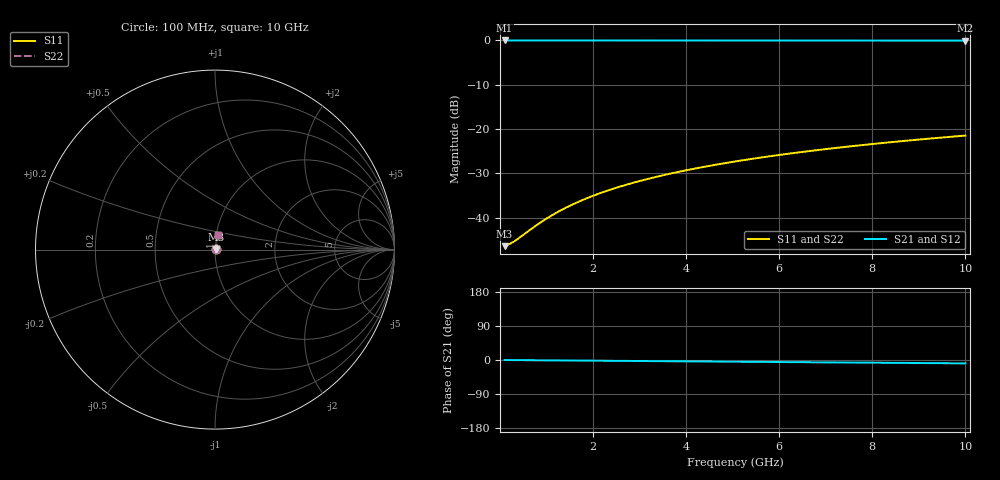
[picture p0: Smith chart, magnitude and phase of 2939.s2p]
# Hz S RI R 50.00
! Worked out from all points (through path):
!   100 points, 100 MHz to 10 GHz, reference 50 ohm
!   highest |S21| = -0.04 dB at 100 MHz (marker M1); lowest = -0.1 dB at 10 GHz (marker M2)
!   group delay of S21, straight-line fit = 2.47 ps
!   lowest |S11| = -46.5 dB at 100 MHz (marker M3), VSWR 1.01, Z = 50.5 + j0.0845 ohm
!   |S11| at or under -10 dB: start of sweep to end of sweep
!   |S22| runs from -46.5 to -21.5 dB; largest |S21 - S12| = 0
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1e8  0.00468 0.000838  0.9953 -0.00155  0.9953 -0.00155  0.00468 0.000838
2e8  0.00471 0.00168  0.9953 -0.00309  0.9953 -0.00309  0.00471 0.00168
3e8  0.00474 0.00251  0.9953 -0.00464  0.9953 -0.00464  0.00474 0.00251
4e8  0.00477 0.00335  0.9952 -0.00618  0.9952 -0.00618  0.00477 0.00335
8e8  0.00489 0.0067  0.9951 -0.0124  0.9951 -0.0124  0.00489 0.0067
1.1e9  0.00499 0.00921  0.995 -0.017  0.995 -0.017  0.00499 0.00921
1.4e9  0.00511 0.0117  0.9948 -0.0216  0.9948 -0.0216  0.00511 0.0117
1.6e9  0.0052 0.0134  0.9947 -0.0247  0.9947 -0.0247  0.0052 0.0134
1.8e9  0.0053 0.0151  0.9946 -0.0278  0.9946 -0.0278  0.0053 0.0151
2.1e9  0.00547 0.0176  0.9944 -0.0324  0.9944 -0.0324  0.00547 0.0176
2.5e9  0.00574 0.0209  0.9941 -0.0386  0.9941 -0.0386  0.00574 0.0209
2.9e9  0.00604 0.0242  0.9937 -0.0448  0.9937 -0.0448  0.00604 0.0242
3.4e9  0.00647 0.0284  0.9932 -0.0525  0.9932 -0.0525  0.00647 0.0284
3.8e9  0.00686 0.0317  0.9928 -0.0586  0.9928 -0.0586  0.00686 0.0317
4.2e9  0.00729 0.035  0.9922 -0.0648  0.9922 -0.0648  0.00729 0.035
4.6e9  0.00776 0.0383  0.9917 -0.0709  0.9917 -0.0709  0.00776 0.0383
5.1e9  0.00841 0.0425  0.9909 -0.0786  0.9909 -0.0786  0.00841 0.0425
5.9e9  0.00958 0.0491  0.9895 -0.0909  0.9895 -0.0909  0.00958 0.0491
6.7e9  0.0109 0.0556  0.9879 -0.1031  0.9879 -0.1031  0.0109 0.0556
7.5e9  0.0124 0.0621  0.9861 -0.1153  0.9861 -0.1153  0.0124 0.0621
8.4e9  0.0143 0.0694  0.9839 -0.129  0.9839 -0.129  0.0143 0.0694
1e10  0.0181 0.0821  0.9793 -0.1531  0.9793 -0.1531  0.0181 0.0821
